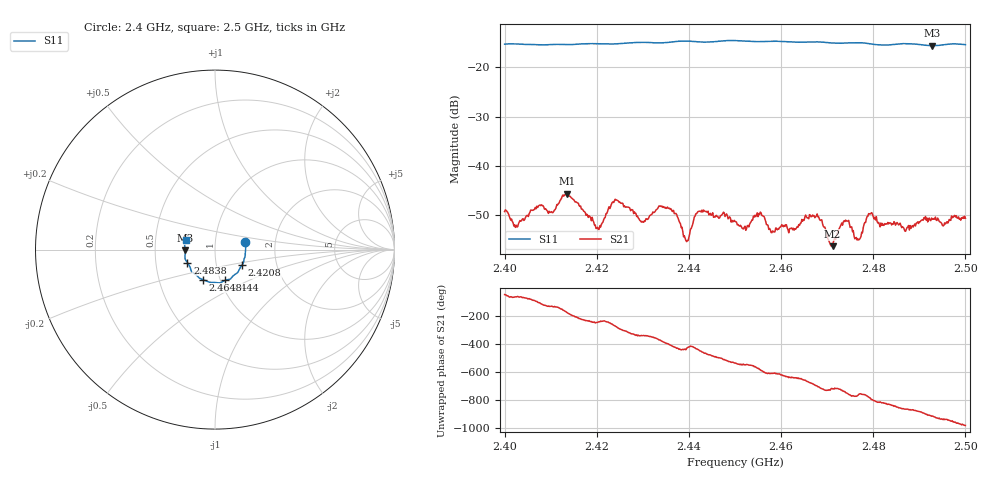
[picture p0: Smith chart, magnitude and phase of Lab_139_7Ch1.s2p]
# Hz S RI R 50
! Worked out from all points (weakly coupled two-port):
!   601 points, 2.4 GHz to 2.5 GHz, reference 50 ohm
!   highest |S21| = -45.65 dB at 2.4135 GHz (marker M1); lowest = -56.3 dB at 2.4712 GHz (marker M2)
!   lowest |S11| = -15.6 dB at 2.4928 GHz (marker M3), VSWR 1.40, Z = 35.8 - j0.337 ohm
!   |S11| at or under -10 dB: start of sweep to end of sweep
!   S12 and S22 are empty: the file has one direction only
!   S11 on the Smith chart (normalised r, x): 2.4 GHz: 1.40, +0.12; 2.4208 GHz: 1.33, -0.24; 2.444 GHz: 1.06, -0.37; 2.4648 GHz: 0.83, -0.29; 2.4838 GHz: 0.73, -0.11; 2.5 GHz: 0.72, +0.08
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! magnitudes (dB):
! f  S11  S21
! 2.4 GHz  -15.3  -49.3
! 2.4025 GHz  -15.2  -52.0
! 2.4135 GHz  -15.4  -45.7
! 2.4167 GHz  -15.2  -48.8
! 2.4208 GHz  -15.2  -52.4
! 2.424 GHz  -15.2  -46.8
! 2.43 GHz  -14.9  -51.4
! 2.4333 GHz  -15.0  -48.5
! 2.437 GHz  -14.8  -49.7
! 2.4393 GHz  -14.7  -55.1
! 2.444 GHz  -14.9  -49.4
! 2.45 GHz  -14.6  -51.3
! 2.4648 GHz  -14.9  -50.9
! 2.4667 GHz  -14.8  -50.3
! 2.4712 GHz  -15.0  -56.3
! 2.474 GHz  -15.0  -51.0
! 2.4765 GHz  -15.0  -55.0
! 2.4792 GHz  -15.2  -49.7
! 2.4833 GHz  -15.4  -51.8
! 2.4838 GHz  -15.4  -51.6
! 2.4928 GHz  -15.6  -50.8
! 2.5 GHz  -15.4  -50.6
